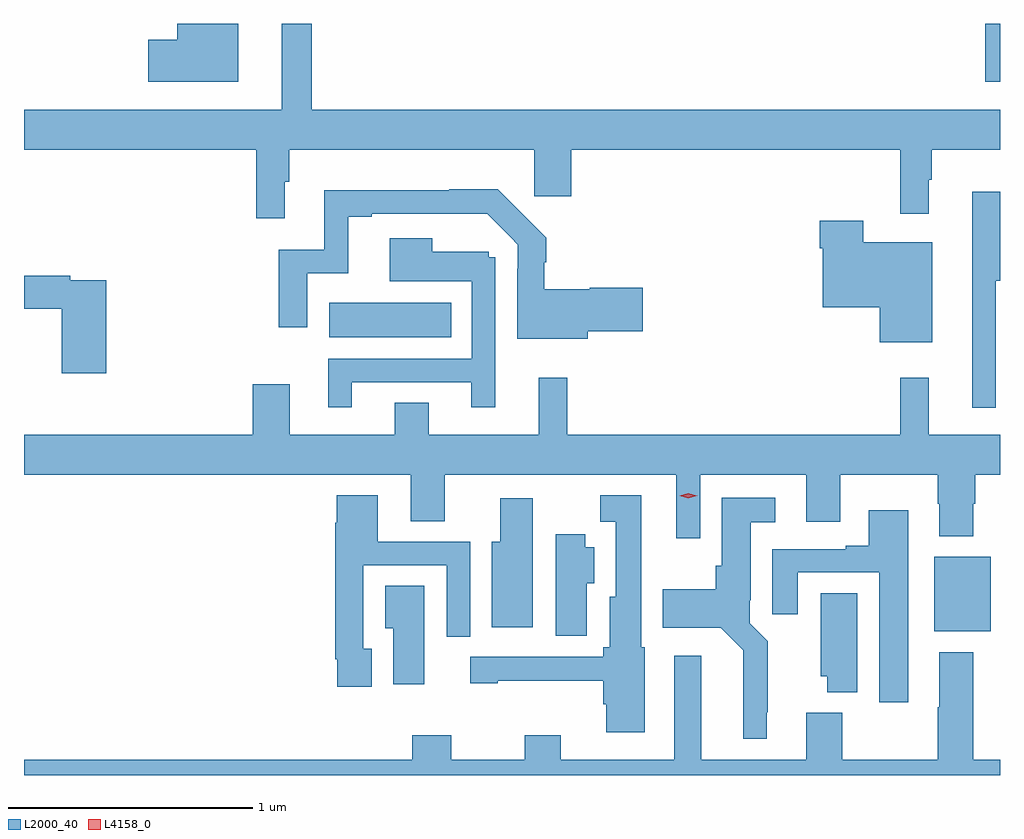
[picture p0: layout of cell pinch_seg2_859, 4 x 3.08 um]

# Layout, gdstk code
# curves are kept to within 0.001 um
import gdstk
lib = gdstk.Library(unit=1e-6, precision=1e-09)
def R(c, l, rs):  # rectangles x0, y0, x1, y1
    for r in rs: c.add(gdstk.rectangle(r[:2], r[2:], *l))
def P(c, l, *ps):  # polygons
    for p in ps: c.add(gdstk.Polygon(p, *l))
L2000_40 = (2000, 40)
L4158_0 = (4158, 0)

pinch_seg2_859 = lib.new_cell('pinch_seg2_859')
R(pinch_seg2_859, L2000_40, [(499.688,584.39,499.921,584.695), (497.208,585.596,497.708,585.736), (499.898,586.643,499.958,586.88)])
P(pinch_seg2_859, L2000_40, [(497.026,586.232),(497.045,586.232),(497.045,586.364),(498.049,586.364),(498.049,586.173),(498.2,586.173),(498.2,586.364),(499.549,586.364),(499.549,586.101),(499.666,586.101),(499.666,586.241),(499.678,586.241),(499.678,586.364),(499.958,586.364),(499.958,586.528),(497.137,586.528),(497.137,586.88),(497.015,586.88),(497.015,586.528),(495.958,586.528),(495.958,586.364),(496.909,586.364),(496.909,586.083),(497.026,586.083)],
  [(496.837,586.88),(496.586,586.88),(496.586,586.814),(496.467,586.814),(496.467,586.643),(496.837,586.643)],
  [(498.268,585.619),(498.493,585.619),(498.493,585.797),(498.276,585.797),(498.276,585.792),(498.091,585.792),(498.091,585.902),(498.098,585.902),(498.098,586.003),(497.9,586.201),(497.701,586.201),(497.701,586.198),(497.189,586.198),(497.189,585.954),(497.002,585.954),(497.002,585.636),(497.118,585.636),(497.118,585.858),(497.287,585.858),(497.287,586.089),(497.383,586.089),(497.383,586.101),(497.857,586.101),(497.982,585.975),(497.982,585.875),(497.979,585.875),(497.979,585.59),(498.268,585.59)],
  [(499.941,585.827),(499.958,585.827),(499.958,586.192),(499.844,586.192),(499.844,585.306),(499.941,585.306)],
  [(499.681,585.985),(499.398,585.985),(499.398,586.072),(499.22,586.072),(499.22,585.959),(499.232,585.959),(499.232,585.719),(499.466,585.719),(499.466,585.575),(499.681,585.575)],
  [(497.302,585.411),(497.792,585.411),(497.792,585.309),(497.889,585.309),(497.889,585.924),(497.862,585.924),(497.862,585.946),(497.632,585.946),(497.632,586),(497.456,586),(497.456,585.824),(497.793,585.824),(497.793,585.507),(497.204,585.507),(497.204,585.309),(497.302,585.309)],
  [(496.295,585.828),(496.148,585.828),(496.148,585.848),(495.958,585.848),(495.958,585.712),(496.112,585.712),(496.112,585.447),(496.295,585.447)],
  [(499.549,585.43),(499.549,585.196),(498.185,585.196),(498.185,585.43),(498.068,585.43),(498.068,585.196),(497.617,585.196),(497.617,585.326),(497.477,585.326),(497.477,585.196),(497.047,585.196),(497.047,585.403),(496.895,585.403),(496.895,585.196),(495.958,585.196),(495.958,585.032),(497.543,585.032),(497.543,584.842),(497.683,584.842),(497.683,585.032),(498.632,585.032),(498.632,584.772),(498.729,584.772),(498.729,585.032),(499.163,585.032),(499.163,584.838),(499.303,584.838),(499.303,585.032),(499.702,585.032),(499.702,584.912),(499.709,584.912),(499.709,584.78),(499.849,584.78),(499.849,584.912),(499.857,584.912),(499.857,585.032),(499.958,585.032),(499.958,585.196),(499.667,585.196),(499.667,585.43)],
  [(497.383,584.319),(497.349,584.319),(497.349,584.661),(497.691,584.661),(497.691,584.367),(497.787,584.367),(497.787,584.757),(497.407,584.757),(497.407,584.947),(497.24,584.947),(497.24,584.834),(497.233,584.834),(497.233,584.275),(497.241,584.275),(497.241,584.163),(497.383,584.163)],
  [(498.502,584.325),(498.487,584.325),(498.487,584.947),(498.32,584.947),(498.32,584.84),(498.383,584.84),(498.383,584.532),(498.359,584.532),(498.359,584.325),(498.332,584.325),(498.332,584.286),(497.787,584.286),(497.787,584.178),(497.899,584.178),(497.899,584.188),(498.332,584.188),(498.332,584.091),(498.344,584.091),(498.344,583.977),(498.502,583.977)],
  [(499.003,584.059),(499.007,584.059),(499.007,584.35),(498.933,584.424),(498.933,584.518),(498.937,584.518),(498.937,584.837),(499.036,584.837),(499.036,584.938),(498.818,584.938),(498.818,584.658),(498.793,584.658),(498.793,584.563),(498.576,584.563),(498.576,584.405),(498.813,584.405),(498.906,584.312),(498.905,583.949),(499.003,583.949)],
  [(498.043,584.935),(497.909,584.935),(497.909,584.758),(497.876,584.758),(497.876,584.406),(498.043,584.406)],
  [(499.582,584.887),(499.421,584.887),(499.421,584.74),(499.325,584.74),(499.325,584.727),(499.025,584.727),(499.025,584.46),(499.129,584.46),(499.129,584.631),(499.463,584.631),(499.463,584.1),(499.582,584.1)],
  [(498.265,584.587),(498.295,584.587),(498.295,584.734),(498.258,584.734),(498.258,584.788),(498.137,584.788),(498.137,584.371),(498.265,584.371)],
  [(497.599,584.576),(497.438,584.576),(497.438,584.402),(497.471,584.402),(497.471,584.172),(497.599,584.172)],
  [(499.372,584.546),(499.223,584.546),(499.223,584.205),(499.25,584.205),(499.25,584.141),(499.372,584.141)],
  [(499.958,583.864),(499.849,583.864),(499.849,584.305),(499.709,584.305),(499.709,584.079),(499.702,584.079),(499.702,583.864),(499.311,583.864),(499.311,584.056),(499.163,584.056),(499.163,583.864),(498.733,583.864),(498.733,584.29),(498.623,584.29),(498.623,583.864),(498.157,583.864),(498.157,583.963),(498.01,583.963),(498.01,583.864),(497.709,583.864),(497.709,583.963),(497.549,583.963),(497.549,583.864),(495.958,583.864),(495.958,583.8),(499.958,583.8)])
P(pinch_seg2_859, L4158_0, [(498.681,584.936),(498.646,584.946),(498.646,584.946),(498.646,584.946),(498.681,584.956),(498.716,584.945),(498.717,584.945),(498.716,584.945)])

lib.write_gds('pinch_seg2_859.gds')
